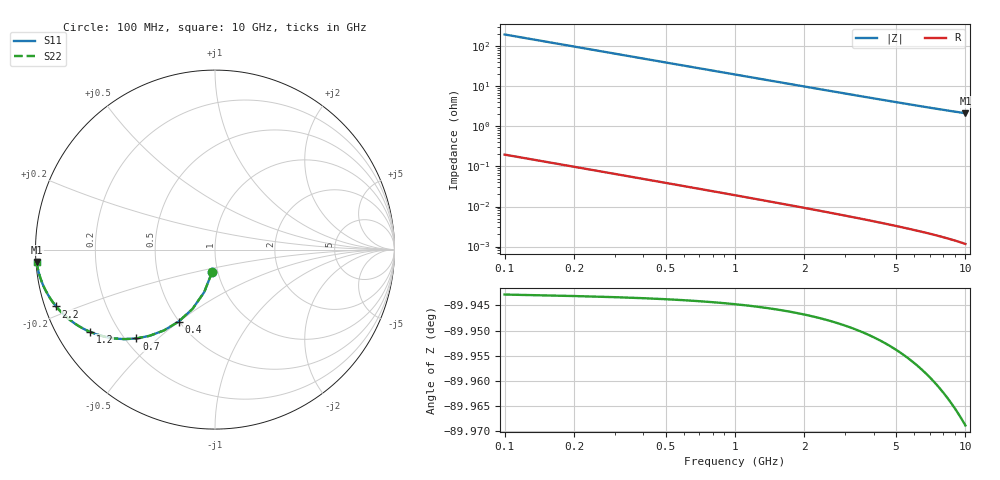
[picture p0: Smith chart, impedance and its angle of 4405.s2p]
# Hz S RI R 50.00
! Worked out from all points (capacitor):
!   100 points, 100 MHz to 10 GHz, reference 50 ohm
!   read as one part in shunt: C = 8.03 pF near 100 MHz
!   lowest |Z| = 2.14 ohm at 10 GHz (marker M1)
!   S11 on the Smith chart (normalised r, x): 100 MHz: 0.94, -0.24; 400 MHz: 0.50, -0.50; 700 MHz: 0.24, -0.43; 1.2 GHz: 0.10, -0.30; 2.2 GHz: 0.03, -0.17; 10 GHz: 0.00, -0.03
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1e8  -0.0158 -0.1241  0.9842 -0.1242  0.9842 -0.1242  -0.0158 -0.1241
2e8  -0.06 -0.237  0.9399 -0.2373  0.9399 -0.2373  -0.06 -0.237
3e8  -0.1255 -0.3306  0.8744 -0.3311  0.8744 -0.3311  -0.1255 -0.3306
4e8  -0.2032 -0.4016  0.7967 -0.4022  0.7967 -0.4022  -0.2032 -0.4016
5e8  -0.2848 -0.4505  0.7151 -0.4512  0.7151 -0.4512  -0.2848 -0.4505
6e8  -0.3644 -0.4803  0.6356 -0.4812  0.6356 -0.4812  -0.3644 -0.4803
7e8  -0.4382 -0.4951  0.5617 -0.4962  0.5617 -0.4962  -0.4382 -0.4951
9e8  -0.5631 -0.4948  0.4369 -0.4962  0.4369 -0.4962  -0.5631 -0.4948
1e9  -0.614 -0.4856  0.3859 -0.4871  0.3859 -0.4871  -0.614 -0.4856
1.2e9  -0.696 -0.4586  0.3039 -0.4604  0.3039 -0.4604  -0.696 -0.4586
1.3e9  -0.7287 -0.4431  0.2712 -0.4451  0.2712 -0.4451  -0.7287 -0.4431
1.5e9  -0.7814 -0.4116  0.2185 -0.4139  0.2185 -0.4139  -0.7814 -0.4116
1.8e9  -0.8373 -0.3672  0.1626 -0.3699  0.1626 -0.3699  -0.8373 -0.3672
2.2e9  -0.8848 -0.317  0.1151 -0.3203  0.1151 -0.3203  -0.8848 -0.317
2.7e9  -0.9204 -0.268  0.0795 -0.2721  0.0795 -0.2721  -0.9204 -0.268
3.4e9  -0.9483 -0.2182  0.0516 -0.2234  0.0516 -0.2234  -0.9483 -0.2182
4.2e9  -0.9655 -0.1786  0.0344 -0.185  0.0344 -0.185  -0.9655 -0.1786
5.1e9  -0.9764 -0.1472  0.0235 -0.1551  0.0235 -0.1551  -0.9764 -0.1472
5.9e9  -0.9823 -0.1266  0.0176 -0.1358  0.0176 -0.1358  -0.9823 -0.1266
6.7e9  -0.9862 -0.1105  0.0136 -0.1209  0.0136 -0.1209  -0.9862 -0.1105
8.4e9  -0.9912 -0.0855  0.00858 -0.0988  0.00858 -0.0988  -0.9912 -0.0855
1e10  -0.9938 -0.0689  0.00594 -0.085  0.00594 -0.085  -0.9938 -0.0689
